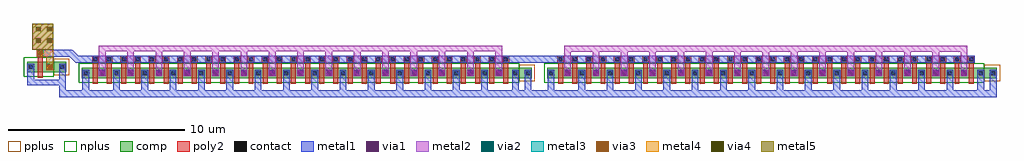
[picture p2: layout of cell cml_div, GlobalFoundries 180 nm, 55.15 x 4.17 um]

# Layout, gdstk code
import gdstk
lib = gdstk.Library(unit=1e-6, precision=1e-09)
def R(c, l, rs):  # rectangles x0, y0, x1, y1
    for r in rs: c.add(gdstk.rectangle(r[:2], r[2:], *l))
def A(c, l, x, y, w, h, nx, ny, dx, dy):  # array of equal rectangles
    R(c, l, [(x+i*dx, y+j*dy, x+i*dx+w, y+j*dy+h) for i in range(nx) for j in range(ny)])
def P(c, l, *ps):  # polygons
    for p in ps: c.add(gdstk.Polygon(p, *l))
comp = (22, 0)
poly2 = (30, 0)
pplus = (31, 0)
nplus = (32, 0)
contact = (33, 0)
metal1 = (34, 0)
via1 = (35, 0)
metal2 = (36, 0)
via2 = (38, 0)
via3 = (40, 0)
via4 = (41, 0)
metal3 = (42, 0)
metal4 = (46, 0)
metal5 = (81, 0)

nfet_1 = lib.new_cell('nfet$1')
R(nfet_1, comp, [(-0.42,0,0,0.61), (0,0,23.86,0.61), (23.86,0,24.28,0.61), (24.28,0,24.99,0.61)])
A(nfet_1, poly2, 0.19, -0.3, 0.28, 1.21, 30, 1, 0.8, 0)
A(nfet_1, poly2, 0.15, 0.91, 0.36, 0.36, 30, 1, 0.8, 0)
R(nfet_1, pplus, [(24.28,-0.17,25.16,0.78)])
R(nfet_1, nplus, [(-0.59,-0.24,24.28,0.85)])
A(nfet_1, contact, 0.62, 0.195, 0.22, 0.22, 29, 1, 0.8, 0)
A(nfet_1, contact, 0.22, 0.98, 0.22, 0.22, 30, 1, 0.8, 0)
R(nfet_1, contact, [(-0.32,0.195,-0.1,0.415), (23.96,0.195,24.18,0.415), (24.67,0.195,24.89,0.415)])
A(nfet_1, metal1, 0.54, 0.115, 0.38, 0.38, 29, 1, 0.8, 0)
A(nfet_1, metal1, 0.14, 0.9, 0.38, 0.38, 30, 1, 0.8, 0)
R(nfet_1, metal1, [(-0.4,0.115,-0.02,0.495), (23.88,0.115,24.26,0.495), (24.59,0.115,24.97,0.495)])

nfet_4 = lib.new_cell('nfet$4')
R(nfet_4, comp, [(-0.42,0,0,0.61), (0,0,0.66,0.61), (0.66,0,1.08,0.61), (1.08,0,1.79,0.61)])
R(nfet_4, poly2, [(0.19,-0.3,0.47,0.91), (0.15,0.91,0.51,1.27)])
R(nfet_4, pplus, [(1.08,-0.17,1.96,0.78)])
R(nfet_4, nplus, [(-0.59,-0.24,1.08,0.85)])
R(nfet_4, contact, [(-0.32,0.195,-0.1,0.415), (0.76,0.195,0.98,0.415), (1.47,0.195,1.69,0.415), (0.22,0.98,0.44,1.2)])
R(nfet_4, metal1, [(-0.4,0.115,-0.02,0.495), (0.68,0.115,1.06,0.495), (1.39,0.115,1.77,0.495), (0.14,0.9,0.52,1.28)])

cml_div = lib.new_cell('cml_div')
R(cml_div, metal1, [(1.02,-10.455,1.4,-9.27), (1.02,-10.455,1.4,-9.27), (2.62,-10.455,3,-9.27), (2.62,-10.455,3,-9.27), (4.22,-10.455,4.6,-9.27), (4.22,-10.455,4.6,-9.27), (5.82,-10.455,6.2,-9.27), (5.82,-10.455,6.2,-9.27), (7.42,-10.455,7.8,-9.27), (7.42,-10.455,7.8,-9.27), (9.02,-10.455,9.4,-9.27), (9.02,-10.455,9.4,-9.27), (10.62,-10.455,11,-9.27), (10.62,-10.455,11,-9.27), (12.22,-10.455,12.6,-9.27), (12.22,-10.455,12.6,-9.27), (13.82,-10.455,14.2,-9.27), (13.82,-10.455,14.2,-9.27), (15.42,-10.455,15.8,-9.27), (15.42,-10.455,15.8,-9.27), (17.02,-10.455,17.4,-9.27), (17.02,-10.455,17.4,-9.27), (18.62,-10.455,19,-9.27), (18.62,-10.455,19,-9.27), (20.22,-10.455,20.6,-9.27), (20.22,-10.455,20.6,-9.27), (21.82,-10.455,22.2,-9.27), (21.82,-10.455,22.2,-9.27), (23.56,-10.455,23.94,-9.27), (23.56,-10.455,23.94,-9.27), (24.27,-10.455,25.965,-10.055), (27.31,-10.455,27.69,-9.27), (27.31,-10.455,27.69,-9.27), (28.91,-10.455,29.29,-9.27), (28.91,-10.455,29.29,-9.27), (30.51,-10.455,30.89,-9.27), (30.51,-10.455,30.89,-9.27), (32.11,-10.455,32.49,-9.27), (32.11,-10.455,32.49,-9.27), (33.71,-10.455,34.09,-9.27), (33.71,-10.455,34.09,-9.27), (35.31,-10.455,35.69,-9.27), (35.31,-10.455,35.69,-9.27), (36.91,-10.455,37.29,-9.27), (36.91,-10.455,37.29,-9.27), (38.51,-10.455,38.89,-9.27), (38.51,-10.455,38.89,-9.27), (40.11,-10.455,40.49,-9.27), (40.11,-10.455,40.49,-9.27), (41.71,-10.455,42.09,-9.27), (41.71,-10.455,42.09,-9.27), (43.31,-10.455,43.69,-9.27), (43.31,-10.455,43.69,-9.27), (44.91,-10.455,45.29,-9.27), (44.91,-10.455,45.29,-9.27), (46.51,-10.455,46.89,-9.27), (46.51,-10.455,46.89,-9.27), (48.11,-10.455,48.49,-9.27), (48.11,-10.455,48.49,-9.27), (49.85,-10.455,50.23,-9.27), (49.85,-10.455,50.23,-9.27), (-3.825,-9.755,-3.445,-8.93), (-3.445,-9.755,-1.655,-9.46), (-2.035,-9.72,-1.655,-8.93), (-1.105,-8.485,-0.18,-8.105), (-0.18,-8.485,23.02,-8.105), (23.4,-8.485,26.11,-8.105), (26.49,-8.485,49.31,-8.105), (-2.905,-8.145,-1.295,-7.765)])
P(cml_div, metal1, [(-0.72,-10.455),(-0.72,-9.27),(-0.34,-9.27),(-0.34,-10.055),(23.94,-10.055),(23.94,-10.455)],
  [(-0.72,-10.455),(-0.72,-9.27),(-0.34,-9.27),(-0.34,-10.055),(23.94,-10.055),(23.94,-10.455)],
  [(50.23,-10.455),(50.23,-10.055),(50.56,-10.055),(50.56,-9.27),(50.94,-9.27),(50.94,-10.455)],
  [(25.57,-10.455),(25.57,-9.27),(25.95,-9.27),(25.95,-10.055),(50.23,-10.055),(50.23,-10.455)],
  [(25.57,-10.455),(25.57,-9.27),(25.95,-9.27),(25.95,-10.055),(50.23,-10.055),(50.23,-10.455)],
  [(50.23,-10.455),(50.23,-10.055),(50.56,-10.055),(50.56,-9.27),(50.94,-9.27),(50.94,-10.455)],
  [(-2.035,-10.455),(-2.035,-9.72),(-1.655,-9.72),(-1.655,-10.055),(-0.34,-10.055),(-0.34,-10.455)],
  [(23.94,-10.455),(23.94,-10.055),(24.27,-10.055),(24.27,-9.27),(24.65,-9.27),(24.65,-10.455)],
  [(23.94,-10.455),(23.94,-10.055),(24.27,-10.055),(24.27,-9.27),(24.65,-9.27),(24.65,-10.455)],
  [(-1.105,-8.485),(-1.825,-7.765),(-1.295,-7.765),(-0.575,-8.485)])
A(cml_div, via1, 0.28, -9.21, 0.26, 0.26, 15, 1, 1.6, 0)
A(cml_div, via1, 26.57, -9.21, 0.26, 0.26, 15, 1, 1.6, 0)
R(cml_div, via1, [(-2.685,-8.87,-2.425,-8.61), (-3.225,-8.085,-2.965,-7.825)])
A(cml_div, metal2, 0.22, -9.27, 0.38, 0.38, 15, 1, 1.6, 0)
A(cml_div, metal2, 26.51, -9.27, 0.38, 0.38, 15, 1, 1.6, 0)
A(cml_div, metal2, 0.22, -8.89, 0.38, 1.365, 15, 1, 1.6, 0)
A(cml_div, metal2, 26.51, -8.89, 0.38, 1.365, 15, 1, 1.6, 0)
R(cml_div, metal2, [(-2.745,-8.93,-2.365,-8.55), (-3.285,-8.145,-2.905,-7.765), (26.51,-7.865,49.29,-7.525), (0.22,-7.845,23,-7.525)])
R(cml_div, via2, [(-2.685,-8.87,-2.425,-8.61), (-3.225,-8.085,-2.965,-7.825)])
R(cml_div, via3, [(-2.685,-8.87,-2.425,-8.61), (-3.225,-8.085,-2.965,-7.825)])
R(cml_div, via4, [(-3.34,-7.37,-3.08,-7.11), (-2.72,-7.37,-2.46,-7.11), (-3.34,-6.715,-3.08,-6.455), (-2.72,-6.715,-2.46,-6.455)])
R(cml_div, metal3, [(-2.745,-8.93,-2.365,-8.55), (-3.285,-8.145,-2.905,-7.765)])
R(cml_div, metal4, [(-2.745,-8.93,-2.365,-8.55), (-3.285,-8.145,-2.905,-7.765), (-3.545,-7.765,-2.365,-6.285)])
P(cml_div, metal4, [(-2.745,-8.55),(-2.745,-8.145),(-2.905,-8.145),(-2.905,-7.765),(-2.365,-7.765),(-2.365,-8.55)])
R(cml_div, metal5, [(-3.545,-7.765,-2.365,-6.285)])
cml_div.add(gdstk.Reference(nfet_1, (-0.32,-9.385)))
cml_div.add(gdstk.Reference(nfet_4, (-3.425,-9.045)))
cml_div.add(gdstk.Reference(nfet_1, (25.97,-9.385)))

lib.write_gds('cml_div.gds')
